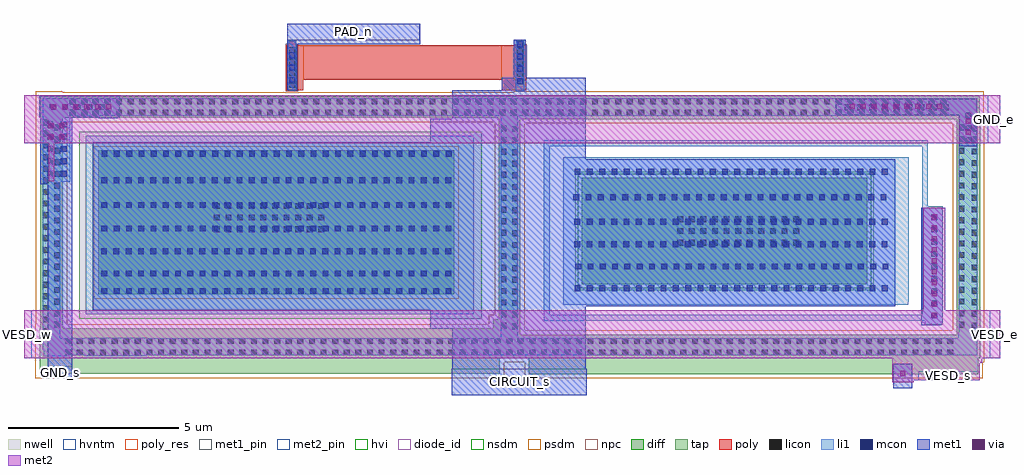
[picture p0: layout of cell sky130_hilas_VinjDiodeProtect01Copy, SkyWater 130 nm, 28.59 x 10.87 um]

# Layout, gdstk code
import gdstk
lib = gdstk.Library(unit=1e-6, precision=1e-09)
def R(c, l, rs):  # rectangles x0, y0, x1, y1
    for r in rs: c.add(gdstk.rectangle(r[:2], r[2:], *l))
def A(c, l, x, y, w, h, nx, ny, dx, dy):  # array of equal rectangles
    R(c, l, [(x+i*dx, y+j*dy, x+i*dx+w, y+j*dy+h) for i in range(nx) for j in range(ny)])
nwell = (64, 20)
diff = (65, 20)
tap = (65, 44)
poly_res = (66, 13)
poly = (66, 20)
licon = (66, 44)
li1 = (67, 20)
mcon = (67, 44)
met1_pin = (68, 16)
met1 = (68, 20)
via = (68, 44)
met2_pin = (69, 16)
met2 = (69, 20)
hvi = (75, 20)
diode_id = (81, 23)
nsdm = (93, 44)
psdm = (94, 20)
npc = (95, 20)
hvntm = (125, 20)

sky130_hilas_vinjdiodepr = lib.new_cell('sky130_hilas_VinjDiodeProtect01Copy')
R(sky130_hilas_vinjdiodepr, nwell, [(-5.83,-0.05,5.96,5.42)])
R(sky130_hilas_vinjdiodepr, diff, [(-5.27,0.66,5.16,4.88), (8.89,0.96,17.25,4.07)])
R(sky130_hilas_vinjdiodepr, tap, [(7.34,-1.68,20.51,-1.21), (-6.99,-1.67,6.49,-1.21), (-6.99,-1.21,20.56,-0.52), (-6.99,-0.52,7.09,-0.34), (19.88,-0.52,20.56,5.79), (-6.98,-0.34,-6.31,5.83), (6.29,-0.34,7.09,-0.07), (6.46,-0.07,7.09,5.79), (6.46,5.79,20.56,5.83), (-6.98,5.83,20.54,6.46), (-6.98,6.46,-6.46,6.48), (7.02,6.46,20.54,6.48), (-6.98,6.48,-6.64,6.49)])
R(sky130_hilas_vinjdiodepr, poly_res, [(0.73,6.94,6.54,7.96)])
R(sky130_hilas_vinjdiodepr, poly, [(0.23,6.64,0.73,6.94), (6.54,6.64,7.26,6.94), (0.23,6.94,7.26,7.96), (0.32,7.96,0.49,8.07), (7,7.96,7.17,8.07)])
A(sky130_hilas_vinjdiodepr, licon, -6.24, -1.13, 0.17, 0.17, 77, 2, 0.34, 0.34)
A(sky130_hilas_vinjdiodepr, licon, -6.9, -0.505, 0.17, 0.17, 1, 19, 0, 0.34)
A(sky130_hilas_vinjdiodepr, licon, 6.85, -0.36, 0.17, 0.17, 1, 18, 0, 0.34)
A(sky130_hilas_vinjdiodepr, licon, 6.51, -0.345, 0.17, 0.17, 1, 18, 0, 0.34)
A(sky130_hilas_vinjdiodepr, licon, 20.31, -0.34, 0.17, 0.17, 1, 18, 0, 0.34)
A(sky130_hilas_vinjdiodepr, licon, -6.56, -0.32, 0.17, 0.17, 1, 18, 0, 0.34)
A(sky130_hilas_vinjdiodepr, licon, 19.93, -0.315, 0.17, 0.17, 1, 18, 0, 0.34)
A(sky130_hilas_vinjdiodepr, licon, 11.685, 2.09, 0.17, 0.17, 11, 3, 0.34, 0.34)
A(sky130_hilas_vinjdiodepr, licon, -1.885, 2.485, 0.17, 0.17, 10, 3, 0.34, 0.34)
A(sky130_hilas_vinjdiodepr, licon, -6.11, 5.89, 0.17, 0.17, 76, 2, 0.34, 0.34)
A(sky130_hilas_vinjdiodepr, licon, 0.32, 6.71, 0.17, 0.17, 1, 4, 0, 0.34)
A(sky130_hilas_vinjdiodepr, licon, 7, 7.03, 0.17, 0.17, 1, 3, 0, 0.34)
R(sky130_hilas_vinjdiodepr, li1, [(-6.87,-1.15,-6.18,-1.13), (-5.67,-1.14,-3.87,-1.13), (-6.87,-1.13,20.48,-0.96), (-6.9,-0.96,20.48,-0.62), (-6.9,-0.62,-6.39,3.96), (-5.65,-0.62,-3.85,-0.61), (6.51,-0.62,7.02,5.89), (19.92,-0.62,20.48,-0.46), (19.93,-0.46,20.48,5.89), (18.93,-0.22,19.47,-0.11), (7.77,-0.11,19.47,0.06), (7.77,0.06,7.95,0.13), (18.86,0.06,19.47,3.24), (-5.64,0.07,5.72,5.3), (7.78,0.13,7.95,5), (8.34,0.36,18.45,0.44), (8.34,0.44,18.47,4.67), (18.86,3.24,19.03,5), (-6.9,3.96,-6.1,5.89), (8.34,4.67,18.45,4.68), (7.78,5,19.03,5.17), (-6.9,5.89,20.48,6.4), (6.96,6.61,7.21,8.09), (0.32,6.63,0.49,6.64), (0.28,6.64,0.53,8.1)])
A(sky130_hilas_vinjdiodepr, mcon, 19.13, -0.045, 0.17, 0.17, 1, 9, 0, 0.36)
A(sky130_hilas_vinjdiodepr, mcon, -5.18, 0.675, 0.17, 0.17, 29, 2, 0.36, 1.83)
A(sky130_hilas_vinjdiodepr, mcon, 8.68, 0.75, 0.17, 0.17, 26, 2, 0.36, 3.42)
A(sky130_hilas_vinjdiodepr, mcon, -5.185, 1.185, 0.17, 0.17, 29, 2, 0.36, 2.735)
A(sky130_hilas_vinjdiodepr, mcon, 8.7, 1.39, 0.17, 0.17, 26, 1, 0.36, 0)
A(sky130_hilas_vinjdiodepr, mcon, -5.19, 1.835, 0.17, 0.17, 29, 1, 0.36, 0)
A(sky130_hilas_vinjdiodepr, mcon, 8.67, 2.04, 0.17, 0.17, 26, 1, 0.36, 0)
A(sky130_hilas_vinjdiodepr, mcon, 8.675, 2.7, 0.17, 0.17, 26, 1, 0.36, 0)
A(sky130_hilas_vinjdiodepr, mcon, -5.18, 3.19, 0.17, 0.17, 29, 1, 0.36, 0)
A(sky130_hilas_vinjdiodepr, mcon, 8.64, 3.42, 0.17, 0.17, 26, 1, 0.36, 0)
A(sky130_hilas_vinjdiodepr, mcon, -6.375, 4.11, 0.17, 0.17, 1, 5, 0, 0.36)
A(sky130_hilas_vinjdiodepr, mcon, -6.775, 4.115, 0.17, 0.17, 1, 5, 0, 0.36)
A(sky130_hilas_vinjdiodepr, mcon, -5.175, 4.695, 0.17, 0.17, 29, 1, 0.36, 0)
A(sky130_hilas_vinjdiodepr, mcon, 20.125, 5.09, 0.17, 0.17, 1, 3, 0, 0.36)
A(sky130_hilas_vinjdiodepr, mcon, 16.595, 6.055, 0.17, 0.17, 9, 1, 0.36, 0)
A(sky130_hilas_vinjdiodepr, mcon, -6.695, 6.065, 0.17, 0.17, 5, 1, 0.36, 0)
A(sky130_hilas_vinjdiodepr, mcon, 7, 6.82, 0.17, 0.17, 1, 4, 0, 0.36)
R(sky130_hilas_vinjdiodepr, mcon, [(0.32,6.85,0.49,7.02), (0.32,7.22,0.49,7.39), (0.32,7.58,0.49,7.75)])
R(sky130_hilas_vinjdiodepr, met1_pin, [(5.08,-2.29,9.03,-1.52), (-6.75,-1.79,-6.03,-1.45), (0.26,8.11,4.15,8.58)])
R(sky130_hilas_vinjdiodepr, met1, [(5.08,-2.29,9.03,-1.52), (18.02,-2.09,18.57,-1.87), (18.01,-1.87,18.57,-1.37), (-6.75,-1.79,-6.03,3.88), (5.1,-1.52,9.01,-0.35), (4.45,-0.35,9.01,0.19), (18.84,-0.24,19.41,-0.23), (18.84,-0.23,19.46,3.19), (-5.44,0.19,9.01,0.31), (-5.44,0.31,18.07,4.61), (18.84,3.19,19.41,3.2), (-6.98,3.88,-6.03,5.84), (-5.44,4.61,9.01,5.12), (19.94,5,20.47,5.9), (4.45,5.12,9.01,5.81), (5.1,5.81,9.01,6.64), (-5.28,5.82,-4.7,5.84), (-7.01,5.84,-4.64,6.47), (16.33,5.9,20.47,5.99), (16.33,5.99,20.46,6.39), (0.26,6.64,0.55,7.99), (6.54,6.64,9.01,7.01), (6.89,7.01,7.26,7.96), (6.9,7.96,7.25,8.12), (0.26,7.99,4.16,8.58)])
A(sky130_hilas_vinjdiodepr, via, 19.135, -0.03, 0.15, 0.15, 1, 10, 0, 0.32)
A(sky130_hilas_vinjdiodepr, via, -6.65, 6.08, 0.15, 0.15, 6, 1, 0.32, 0)
A(sky130_hilas_vinjdiodepr, via, 16.74, 6.09, 0.15, 0.15, 9, 1, 0.32, 0)
R(sky130_hilas_vinjdiodepr, via, [(18.215,-1.735,18.365,-1.585), (-6.735,5.205,-6.585,5.355), (-6.415,5.205,-6.265,5.355), (20.13,5.335,20.28,5.485), (-6.735,5.525,-6.585,5.675), (-6.415,5.525,-6.265,5.675), (20.13,5.655,20.28,5.805)])
R(sky130_hilas_vinjdiodepr, met2_pin, [(18.75,-1.85,20.54,-1.6), (-7.44,-1.21,-7.23,0.19), (20.84,-1.21,21.14,0.19), (20.78,5.09,21.14,6.49)])
R(sky130_hilas_vinjdiodepr, met2, [(17.99,-1.92,18.61,-1.85), (17.99,-1.85,20.54,-1.34), (17.99,-1.34,20.62,-1.21), (-7.45,-1.21,21.14,0.19), (18.89,0.19,19.53,3.2), (-6.73,3.97,-6.56,5.08), (-6.98,5.08,-6.05,5.09), (-7.45,5.09,21.14,6.49)])
R(sky130_hilas_vinjdiodepr, hvi, [(-5.83,-0.05,5.96,5.42), (8.705,0.775,17.435,4.255)])
R(sky130_hilas_vinjdiodepr, diode_id, [(-5.27,0.66,5.16,4.88), (8.89,0.96,17.25,4.07)])
R(sky130_hilas_vinjdiodepr, nsdm, [(8.765,0.835,17.375,4.195)])
R(sky130_hilas_vinjdiodepr, psdm, [(7.215,-1.805,20.635,-1.335), (-7.115,-1.795,6.615,-1.335), (-7.115,-1.335,20.685,-0.395), (-7.115,-0.395,7.215,-0.215), (19.755,-0.395,20.685,5.665), (-7.105,-0.215,-6.185,5.705), (6.165,-0.215,7.215,0.055), (6.335,0.055,7.215,5.665), (-5.395,0.535,5.285,5.005), (6.335,5.665,20.685,5.705), (-7.105,5.705,20.685,5.955), (-7.105,5.955,20.665,6.585), (-7.105,6.585,-6.335,6.605), (6.895,6.585,20.665,6.605), (-7.105,6.605,-6.515,6.615)])
R(sky130_hilas_vinjdiodepr, npc, [(0.22,6.61,0.59,8), (6.9,6.93,7.27,7.98)])
R(sky130_hilas_vinjdiodepr, hvntm, [(8.705,0.775,17.435,4.255)])
sky130_hilas_vinjdiodepr.add(gdstk.Label('CIRCUIT_s', (7.055,-1.905), layer=68, texttype=5))
sky130_hilas_vinjdiodepr.add(gdstk.Label('GND_e', (20.96,5.79), layer=69, texttype=5))
sky130_hilas_vinjdiodepr.add(gdstk.Label('GND_s', (-6.39,-1.62), layer=68, texttype=5))
sky130_hilas_vinjdiodepr.add(gdstk.Label('VESD_s', (19.645,-1.725), layer=69, texttype=5))
sky130_hilas_vinjdiodepr.add(gdstk.Label('VESD_e', (20.99,-0.51), layer=69, texttype=5))
sky130_hilas_vinjdiodepr.add(gdstk.Label('VESD_w', (-7.335,-0.51), layer=69, texttype=5))
sky130_hilas_vinjdiodepr.add(gdstk.Label('PAD_n', (2.205,8.345), layer=68, texttype=5))

lib.write_gds('sky130_hilas_VinjDiodeProtect01Copy.gds')
